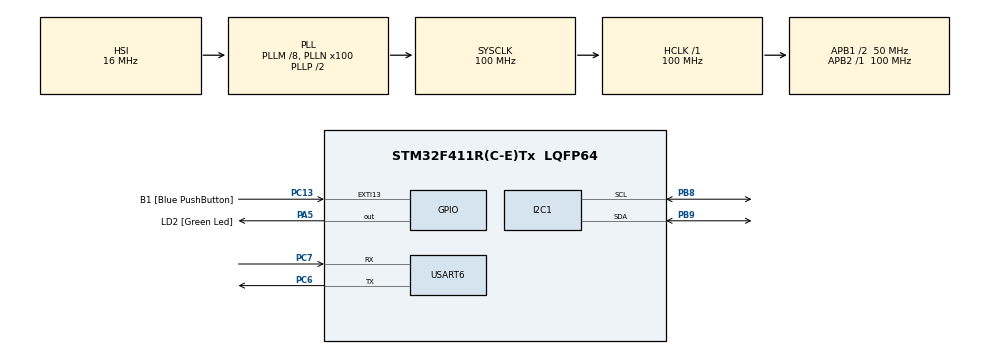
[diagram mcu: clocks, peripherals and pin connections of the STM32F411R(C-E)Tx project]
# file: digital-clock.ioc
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Mcu.Family=STM32F4
Mcu.Name=STM32F411R(C-E)Tx
Mcu.Package=LQFP64
NVIC.EXTI15_10_IRQn=true\:0\:0\:false\:false\:true\:true\:true\:true
NVIC.PriorityGroup=NVIC_PRIORITYGROUP_0
NVIC.TIM2_IRQn=true\:0\:1\:false\:false\:true\:true\:true\:true
NVIC.TIM3_IRQn=true\:0\:1\:true\:false\:true\:true\:true\:true
PA13.GPIO_Label=TMS
PA13.Signal=SYS_JTMS-SWDIO
PA14.GPIO_Label=TCK
PA14.Signal=SYS_JTCK-SWCLK
PA2.GPIO_Label=USART_TX
PA2.Signal=USART2_TX
PA3.GPIO_Label=USART_RX
PA3.Signal=USART2_RX
PA5.GPIO_Label=LD2 [Green Led]
PA5.Signal=GPIO_Output
PB8.GPIO_Pu=GPIO_PULLUP
PB8.Mode=I2C
PB8.Signal=I2C1_SCL
PB9.GPIO_Pu=GPIO_PULLUP
PB9.Mode=I2C
PB9.Signal=I2C1_SDA
PC13-ANTI_TAMP.GPIO_Label=B1 [Blue PushButton]
PC13-ANTI_TAMP.GPIO_ModeDefaultEXTI=GPIO_MODE_IT_RISING_FALLING
PC13-ANTI_TAMP.Signal=GPXTI13
PC14-OSC32_IN.Signal=RCC_OSC32_IN
PC15-OSC32_OUT.Signal=RCC_OSC32_OUT
PC6.Mode=Asynchronous
PC6.Signal=USART6_TX
PC7.Mode=Asynchronous
PC7.Signal=USART6_RX
PH0\ -\ OSC_IN.Signal=RCC_OSC_IN
PH1\ -\ OSC_OUT.Signal=RCC_OSC_OUT
ProjectManager.HeapSize=0x200
ProjectManager.StackSize=0x400
ProjectManager.TargetToolchain=STM32CubeIDE
RCC.48MHZClocksFreq_Value=50000000
RCC.AHBFreq_Value=100000000
RCC.APB1CLKDivider=RCC_HCLK_DIV2
RCC.APB1Freq_Value=50000000
RCC.APB1TimFreq_Value=100000000
RCC.APB2Freq_Value=100000000
RCC.APB2TimFreq_Value=100000000
RCC.CortexFreq_Value=100000000
RCC.FLatency-AdvancedSettings=FLASH_LATENCY_3
RCC.HCLKFreq_Value=100000000
RCC.HSE_VALUE=8000000
RCC.HSI_VALUE=16000000
RCC.LSE_VALUE=32768
RCC.PLLM=8
RCC.PLLN=100
RCC.SYSCLKFreq_VALUE=100000000
RCC.SYSCLKSource=RCC_SYSCLKSOURCE_PLLCLK
RCC.VCOOutputFreq_Value=200000000
TIM2.Period=99999999
TIM3.AutoReloadPreload=TIM_AUTORELOAD_PRELOAD_DISABLE
TIM3.Period=65535
TIM3.Prescaler=100 - 1
TIM5.Period=100000000-1
TIM5.Prescaler=10000
USART6.VirtualMode=VM_ASYNC
VP_TIM2_VS_ClockSourceINT.Mode=Internal
VP_TIM3_VS_ClockSourceINT.Mode=Internal
VP_TIM5_VS_ClockSourceINT.Mode=Internal
board=NUCLEO-F411RE

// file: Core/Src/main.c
/* USER CODE BEGIN Header */
/**
  ******************************************************************************
  * @file           : main.c
  * @brief          : Main program body
  ******************************************************************************
  * @attention
  *
  * Copyright (c) 2026 STMicroelectronics.
  * All rights reserved.
  *
  * This software is licensed under terms that can be found in the LICENSE file
  * in the root directory of this software component.
  * If no LICENSE file comes with this software, it is provided AS-IS.
  *
  ******************************************************************************
  */
/* USER CODE END Header */
#include "main.h"

/* USER CODE BEGIN Includes */
#include <stdio.h>
#include "esp8266ex_driver.h"
#include "lcd.h"
#include "dht20.h"
#include "config_private.h"
/* USER CODE END Includes */

/* USER CODE BEGIN PD */
#define BUSY 1
#define FREE 0

//#define MODE_TIME		0
//#define MODE_WEATHER	1

typedef enum
{
	MODE_TIME,
	MODE_WEATHER,
	MODE_WEATHER_LOCAL
} MODES;

#define User_Button_Pin B1_Pin
/* USER CODE END PD */

I2C_HandleTypeDef hi2c1;

TIM_HandleTypeDef htim2;
TIM_HandleTypeDef htim3;
TIM_HandleTypeDef htim5;

UART_HandleTypeDef huart6;

/* USER CODE BEGIN PV */
RTC_Time_t current_time;
RTC_Date_t current_date;

Weather weather;

uint8_t is_fetching_data_from_server = FREE;
uint8_t is_update_digital_clock = FREE;
uint8_t is_update_weather_local = FREE;
uint8_t is_update_weather = FREE;

MODES modes[3] = {MODE_TIME, MODE_WEATHER_LOCAL, MODE_WEATHER,};
uint8_t current_mode_index = 0;
uint8_t mode_changed = 0; // Used to clear LCD screen one time upon mode changes

DHT20_Handle_t DHT20;

GPIO_PinState user_button_state;
/* USER CODE END PV */

void SystemClock_Config(void);
static void MX_GPIO_Init(void);
static void MX_I2C1_Init(void);
static void MX_USART6_UART_Init(void);
static void MX_TIM3_Init(void);
static void MX_TIM5_Init(void);
static void MX_TIM2_Init(void);

/* USER CODE BEGIN 0 */
char* get_day_of_week(uint8_t i)
{
	char* days[] = {"Mon", "Tue", "Wed", "Thu", "Fri", "Sat", "Sun"};
	return days[i-1];
}

void number_to_string(uint8_t num, char* buf)
{
	if(num < 10)
	{
		buf[0] = '0';
		buf[1] = num + 48;
	}
	else if (num >= 10 && num < 99)
	{
		buf[0] = (num/10) + 48;
		buf[1] = (num%10) + 48;
	}
}

char* time_to_string(RTC_Time_t *rtc_time)
{
	static char buf[9]; // Static because of dangling pointer; once function pops out of stack the value is lost
	buf[2] = ':';
	buf[5] = ':';

	number_to_string(rtc_time->hours, buf);
	number_to_string(rtc_time->minutes, &buf[3]);
	number_to_string(rtc_time->seconds, &buf[6]);

	buf[8] = '\0';

	return buf;

}

char* date_to_string(RTC_Date_t *rtc_date)
{
	static char buf[9]; // Static because of dangling pointer; once function pops out of stack the value is lost
	buf[2] = '/';
	buf[5] = '/';

	number_to_string(rtc_date->month, buf);
	number_to_string(rtc_date->date, &buf[3]);
	number_to_string(rtc_date->year, &buf[6]);

	return buf;
}

void delay_us(uint32_t us)
{
	__HAL_TIM_SET_COUNTER(&htim3, 0);
	HAL_TIM_Base_Start(&htim3);
	while (htim3.Instance->CNT < us);
	HAL_TIM_Base_Stop(&htim3);
}

void initialize_wifi()
{
	//	esp8266ex_firmware_version(&huart6);
	lcd_display_clear();
	lcd_set_cursor(1,1);
	lcd_print_string("ESP8266 to mode:");
	lcd_set_cursor(2,1);
	lcd_print_string("Station");
	esp8266ex_wifi_mode(&huart6, ESP8266EX_MODE_STATION);

	lcd_display_clear();
	lcd_set_cursor(1,1);
	lcd_print_string("Connecting to");
	lcd_set_cursor(2,1);
	lcd_print_string(WIFI_SSID);
	esp8266ex_connect_ap(&huart6, WIFI_SSID, WIFI_PASSWORD);
}

void get_time_wifi()
{
	if(ds1307_init(&hi2c1))
	{
		while(1); // TODO: Handle Failure
	}
	Clock clock;

	lcd_display_clear();
	lcd_set_cursor(1,1);
	lcd_print_string("Connecting to");
	lcd_set_cursor(2,1);
	lcd_print_string(SERVER_IP);
	esp8266ex_cipstart(&huart6, ESP8266EX_TRANSPORT_TCP, SERVER_IP, SERVER_PORT);

	lcd_display_clear();
	lcd_set_cursor(1,1);
	lcd_print_string("Getting time...");

	clock = esp8266ex_get_time(&huart6);
	current_time = clock.time;
	current_date = clock.date;
	ds1307_set_current_date(&hi2c1, &current_date);
	ds1307_set_current_time(&hi2c1, &current_time);
}

void get_weather_wifi()
{
	lcd_display_clear();
	lcd_set_cursor(1,1);
	lcd_print_string("Connecting to");
	lcd_set_cursor(2,1);
	lcd_print_string(SERVER_IP);
	esp8266ex_cipstart(&huart6, ESP8266EX_TRANSPORT_TCP, SERVER_IP, SERVER_PORT);

	lcd_display_clear();
	lcd_set_cursor(1,1);
	lcd_print_string("Getting weather");
	lcd_set_cursor(2,1);
	lcd_print_string("from ");
	lcd_print_string(ZIP_CODE);

	weather = esp8266ex_get_weather(&huart6);
}

void update_digital_clock()
{
	RTC_Time_t current_time;
	RTC_Date_t current_date;

	ds1307_get_current_time(&hi2c1, &current_time);
	ds1307_get_current_date(&hi2c1, &current_date);

	lcd_set_cursor(1,1);
	char *am_pm;
	if(current_time.time_format != TIME_FORMAT_24HRS)
	{
		am_pm = (current_time.time_format) ? "PM" : "AM";
		lcd_print_string(time_to_string(&current_time));
		lcd_print_string(am_pm);
	}
	else
	{
		lcd_print_string(time_to_string(&current_time));
	}

	lcd_set_cursor(2, 1);
	lcd_print_string(date_to_string(&current_date));
	lcd_print_char('<');
	lcd_print_string(get_day_of_week(current_date.day));
	lcd_print_char('>');
}

void update_weather()
{
	lcd_set_cursor(1,1);
	lcd_print_string("Temp: ");
	lcd_print_string(weather.temperature);
	lcd_print_string("F");

	lcd_set_cursor(2,1);
	lcd_print_string("Humidity: ");
	lcd_print_string(weather.humidity);
}

void update_weather_local()
{
	DHT20_Read(&hi2c1);

	char tmp_buf[8];
	uint8_t temp_int = (uint8_t)(DHT20.temperature * 100); // two decimal digits

	snprintf(tmp_buf, sizeof(tmp_buf),
	         "%d.%02d",
			 (uint8_t)(DHT20.temperature),
			 temp_int % 100);

	lcd_set_cursor(1,1);
	lcd_print_string("Temp: ");
	lcd_print_string(tmp_buf);
	lcd_print_string("F");

	temp_int = (uint8_t)(DHT20.humidity * 100); // two decimal digits
	snprintf(tmp_buf, sizeof(tmp_buf),
	         "%d.%02d",
			 (uint8_t)(DHT20.humidity),
			 temp_int % 100);

	lcd_set_cursor(2,1);
	lcd_print_string("Humidity: ");
	lcd_print_string(tmp_buf);
}

/* USER CODE END 0 */

int main(void)
{

  /* MCU Configuration--------------------------------------------------------*/

  /* Reset of all peripherals, Initializes the Flash interface and the Systick. */
  HAL_Init();

  /* USER CODE BEGIN Init */
  user_button_state = HAL_GPIO_ReadPin(B1_GPIO_Port, B1_Pin);;
  DHT20.state = IDLE;
  /* USER CODE END Init */

  /* Configure the system clock */
  SystemClock_Config();

  /* Initialize all configured peripherals */
  MX_GPIO_Init();
  MX_I2C1_Init();
  MX_USART6_UART_Init();
  MX_TIM3_Init();
  MX_TIM5_Init();
  MX_TIM2_Init();
  /* USER CODE BEGIN 2 */

  lcd_init();
  DHT20_Init(&hi2c1);
  HAL_Delay(2000);
  lcd_display_clear();
  lcd_set_cursor(1,1);

  if (HAL_TIM_Base_Start_IT(&htim2) != HAL_OK) // Start global interrupt every 1 second
  {
	  /* Starting Error */
	  Error_Handler();
  }

  /* USER CODE END 2 */

  /* Infinite loop */
  while (1)
  {

    /* USER CODE BEGIN 3 */

	// Once user switches mode, clear the display
	if(mode_changed)
	{
		lcd_display_clear();
		mode_changed = 0;
	}

	if(is_fetching_data_from_server == BUSY)
	{
		get_time_wifi();
		get_weather_wifi();

		is_fetching_data_from_server = FREE;
		lcd_display_clear();
		lcd_set_cursor(1,1);
	}
	else if (is_fetching_data_from_server == FREE)
	{
		// Handle Modes
		if(modes[current_mode_index] == MODE_TIME)
		{
			if(is_update_digital_clock == BUSY)
			{
				update_digital_clock();
				is_update_digital_clock = FREE;
			}
		}
		else if(modes[current_mode_index] == MODE_WEATHER)
		{
			update_weather();
		}
		else if(modes[current_mode_index] == MODE_WEATHER_LOCAL)
		{
			if(is_update_weather_local == BUSY)
			{
				update_weather_local();
				is_update_weather_local = FREE;
			}
		}
	}
  }
  /* USER CODE END 3 */
}

void SystemClock_Config(void)
{
  RCC_OscInitTypeDef RCC_OscInitStruct = {0};
  RCC_ClkInitTypeDef RCC_ClkInitStruct = {0};

  /** Configure the main internal regulator output voltage
  */
  __HAL_RCC_PWR_CLK_ENABLE();
  __HAL_PWR_VOLTAGESCALING_CONFIG(PWR_REGULATOR_VOLTAGE_SCALE1);

  /** Initializes the RCC Oscillators according to the specified parameters
  * in the RCC_OscInitTypeDef structure.
  */
  RCC_OscInitStruct.OscillatorType = RCC_OSCILLATORTYPE_HSI;
  RCC_OscInitStruct.HSIState = RCC_HSI_ON;
  RCC_OscInitStruct.HSICalibrationValue = RCC_HSICALIBRATION_DEFAULT;
  RCC_OscInitStruct.PLL.PLLState = RCC_PLL_ON;
  RCC_OscInitStruct.PLL.PLLSource = RCC_PLLSOURCE_HSI;
  RCC_OscInitStruct.PLL.PLLM = 8;
  RCC_OscInitStruct.PLL.PLLN = 100;
  RCC_OscInitStruct.PLL.PLLP = RCC_PLLP_DIV2;
  RCC_OscInitStruct.PLL.PLLQ = 4;
  if (HAL_RCC_OscConfig(&RCC_OscInitStruct) != HAL_OK)
  {
    Error_Handler();
  }

  /** Initializes the CPU, AHB and APB buses clocks
  */
  RCC_ClkInitStruct.ClockType = RCC_CLOCKTYPE_HCLK|RCC_CLOCKTYPE_SYSCLK
                              |RCC_CLOCKTYPE_PCLK1|RCC_CLOCKTYPE_PCLK2;
  RCC_ClkInitStruct.SYSCLKSource = RCC_SYSCLKSOURCE_PLLCLK;
  RCC_ClkInitStruct.AHBCLKDivider = RCC_SYSCLK_DIV1;
  RCC_ClkInitStruct.APB1CLKDivider = RCC_HCLK_DIV2;
  RCC_ClkInitStruct.APB2CLKDivider = RCC_HCLK_DIV1;

  if (HAL_RCC_ClockConfig(&RCC_ClkInitStruct, FLASH_LATENCY_3) != HAL_OK)
  {
    Error_Handler();
  }
}

static void MX_I2C1_Init(void)
{

  hi2c1.Instance = I2C1;
  hi2c1.Init.ClockSpeed = 100000;
  hi2c1.Init.DutyCycle = I2C_DUTYCYCLE_2;
  hi2c1.Init.OwnAddress1 = 0;
  hi2c1.Init.AddressingMode = I2C_ADDRESSINGMODE_7BIT;
  hi2c1.Init.DualAddressMode = I2C_DUALADDRESS_DISABLE;
  hi2c1.Init.OwnAddress2 = 0;
  hi2c1.Init.GeneralCallMode = I2C_GENERALCALL_DISABLE;
  hi2c1.Init.NoStretchMode = I2C_NOSTRETCH_DISABLE;
  if (HAL_I2C_Init(&hi2c1) != HAL_OK)
  {
    Error_Handler();
  }

}

static void MX_TIM2_Init(void)
{

  TIM_ClockConfigTypeDef sClockSourceConfig = {0};
  TIM_MasterConfigTypeDef sMasterConfig = {0};

  htim2.Instance = TIM2;
  htim2.Init.Prescaler = 0;
  htim2.Init.CounterMode = TIM_COUNTERMODE_UP;
  htim2.Init.Period = 99999999;
  htim2.Init.ClockDivision = TIM_CLOCKDIVISION_DIV1;
  htim2.Init.AutoReloadPreload = TIM_AUTORELOAD_PRELOAD_DISABLE;
  if (HAL_TIM_Base_Init(&htim2) != HAL_OK)
  {
    Error_Handler();
  }
  sClockSourceConfig.ClockSource = TIM_CLOCKSOURCE_INTERNAL;
  if (HAL_TIM_ConfigClockSource(&htim2, &sClockSourceConfig) != HAL_OK)
  {
    Error_Handler();
  }
  sMasterConfig.MasterOutputTrigger = TIM_TRGO_RESET;
  sMasterConfig.MasterSlaveMode = TIM_MASTERSLAVEMODE_DISABLE;
  if (HAL_TIMEx_MasterConfigSynchronization(&htim2, &sMasterConfig) != HAL_OK)
  {
    Error_Handler();
  }

}

static void MX_TIM3_Init(void)
{

  TIM_ClockConfigTypeDef sClockSourceConfig = {0};
  TIM_MasterConfigTypeDef sMasterConfig = {0};

  htim3.Instance = TIM3;
  htim3.Init.Prescaler = 100 - 1;
  htim3.Init.CounterMode = TIM_COUNTERMODE_UP;
  htim3.Init.Period = 65535;
  htim3.Init.ClockDivision = TIM_CLOCKDIVISION_DIV1;
  htim3.Init.AutoReloadPreload = TIM_AUTORELOAD_PRELOAD_DISABLE;
  if (HAL_TIM_Base_Init(&htim3) != HAL_OK)
  {
    Error_Handler();
  }
  sClockSourceConfig.ClockSource = TIM_CLOCKSOURCE_INTERNAL;
  if (HAL_TIM_ConfigClockSource(&htim3, &sClockSourceConfig) != HAL_OK)
  {
    Error_Handler();
  }
  sMasterConfig.MasterOutputTrigger = TIM_TRGO_RESET;
  sMasterConfig.MasterSlaveMode = TIM_MASTERSLAVEMODE_DISABLE;
  if (HAL_TIMEx_MasterConfigSynchronization(&htim3, &sMasterConfig) != HAL_OK)
  {
    Error_Handler();
  }

}

static void MX_TIM5_Init(void)
{

  TIM_ClockConfigTypeDef sClockSourceConfig = {0};
  TIM_MasterConfigTypeDef sMasterConfig = {0};

  htim5.Instance = TIM5;
  htim5.Init.Prescaler = 10000;
  htim5.Init.CounterMode = TIM_COUNTERMODE_UP;
  htim5.Init.Period = 100000000-1;
  htim5.Init.ClockDivision = TIM_CLOCKDIVISION_DIV1;
  htim5.Init.AutoReloadPreload = TIM_AUTORELOAD_PRELOAD_DISABLE;
  if (HAL_TIM_Base_Init(&htim5) != HAL_OK)
  {
    Error_Handler();
  }
  sClockSourceConfig.ClockSource = TIM_CLOCKSOURCE_INTERNAL;
  if (HAL_TIM_ConfigClockSource(&htim5, &sClockSourceConfig) != HAL_OK)
  {
    Error_Handler();
  }
  sMasterConfig.MasterOutputTrigger = TIM_TRGO_RESET;
  sMasterConfig.MasterSlaveMode = TIM_MASTERSLAVEMODE_DISABLE;
  if (HAL_TIMEx_MasterConfigSynchronization(&htim5, &sMasterConfig) != HAL_OK)
  {
    Error_Handler();
  }

}

static void MX_USART6_UART_Init(void)
{

  huart6.Instance = USART6;
  huart6.Init.BaudRate = 115200;
  huart6.Init.WordLength = UART_WORDLENGTH_8B;
  huart6.Init.StopBits = UART_STOPBITS_1;
  huart6.Init.Parity = UART_PARITY_NONE;
  huart6.Init.Mode = UART_MODE_TX_RX;
  huart6.Init.HwFlowCtl = UART_HWCONTROL_NONE;
  huart6.Init.OverSampling = UART_OVERSAMPLING_16;
  if (HAL_UART_Init(&huart6) != HAL_OK)
  {
    Error_Handler();
  }

}

static void MX_GPIO_Init(void)
{
  GPIO_InitTypeDef GPIO_InitStruct = {0};

  /* GPIO Ports Clock Enable */
  __HAL_RCC_GPIOC_CLK_ENABLE();
  __HAL_RCC_GPIOH_CLK_ENABLE();
  __HAL_RCC_GPIOA_CLK_ENABLE();
  __HAL_RCC_GPIOB_CLK_ENABLE();

  /*Configure GPIO pin Output Level */
  HAL_GPIO_WritePin(LD2_GPIO_Port, LD2_Pin, GPIO_PIN_RESET);

  /*Configure GPIO pin : B1_Pin */
  GPIO_InitStruct.Pin = B1_Pin;
  GPIO_InitStruct.Mode = GPIO_MODE_IT_RISING_FALLING;
  GPIO_InitStruct.Pull = GPIO_NOPULL;
  HAL_GPIO_Init(B1_GPIO_Port, &GPIO_InitStruct);

  /*Configure GPIO pins : USART_TX_Pin USART_RX_Pin */
  GPIO_InitStruct.Pin = USART_TX_Pin|USART_RX_Pin;
  GPIO_InitStruct.Mode = GPIO_MODE_AF_PP;
  GPIO_InitStruct.Pull = GPIO_NOPULL;
  GPIO_InitStruct.Speed = GPIO_SPEED_FREQ_VERY_HIGH;
  GPIO_InitStruct.Alternate = GPIO_AF7_USART2;
  HAL_GPIO_Init(GPIOA, &GPIO_InitStruct);

  /*Configure GPIO pin : LD2_Pin */
  GPIO_InitStruct.Pin = LD2_Pin;
  GPIO_InitStruct.Mode = GPIO_MODE_OUTPUT_PP;
  GPIO_InitStruct.Pull = GPIO_NOPULL;
  GPIO_InitStruct.Speed = GPIO_SPEED_FREQ_LOW;
  HAL_GPIO_Init(LD2_GPIO_Port, &GPIO_InitStruct);

  /* EXTI interrupt init*/
  HAL_NVIC_SetPriority(EXTI15_10_IRQn, 0, 0);
  HAL_NVIC_EnableIRQ(EXTI15_10_IRQn);

}

/* USER CODE BEGIN 4 */
void TIM_IRQHandler() // Called in stm32f4xx_it.c
{
	if(is_update_digital_clock == FREE && (modes[current_mode_index] == MODE_TIME))
		is_update_digital_clock = BUSY;
	if(is_update_weather_local == FREE && (modes[current_mode_index] == MODE_WEATHER_LOCAL))
		is_update_weather_local = BUSY;

//	if(is_update_weather == FREE) is_update_weather = BUSY;
}

void EXTI_Falling_Callback(uint16_t GPIO_Pin)
{
	if (GPIO_Pin == User_Button_Pin)
	{
		// Start TIM17
		__HAL_TIM_SET_COUNTER(&htim5, 0);
		HAL_TIM_Base_Start(&htim5);

	}
}

void EXTI_Rising_Callback(uint16_t GPIO_Pin)
{
	uint32_t elapsed_time = htim5.Instance->CNT;
	if(GPIO_Pin == User_Button_Pin)
	{
		if (elapsed_time < 30000) // < 3 Seconds
		{
			(++current_mode_index);
			current_mode_index %= sizeof(modes);
			mode_changed = 1;
		}
		else if (elapsed_time < 100000) // 3-10 seconds
		{
			is_fetching_data_from_server = BUSY;
		}
		HAL_TIM_Base_Stop(&htim5);
	}
}

void HAL_GPIO_EXTI_Callback(uint16_t GPIO_Pin)
{
	GPIO_PinState current_b1_state = HAL_GPIO_ReadPin(B1_GPIO_Port, B1_Pin);

	if (user_button_state == GPIO_PIN_SET && current_b1_state == GPIO_PIN_RESET) // High to low
	{
		user_button_state = GPIO_PIN_RESET;
		EXTI_Falling_Callback(GPIO_Pin);
	}
	else if (user_button_state == GPIO_PIN_RESET && current_b1_state == GPIO_PIN_SET) // Low to High
	{
		user_button_state = GPIO_PIN_SET;
		EXTI_Rising_Callback(GPIO_Pin);
	}
}

/* USER CODE END 4 */

void Error_Handler(void)
{
  __disable_irq();
  while (1)
  {
  }
}
